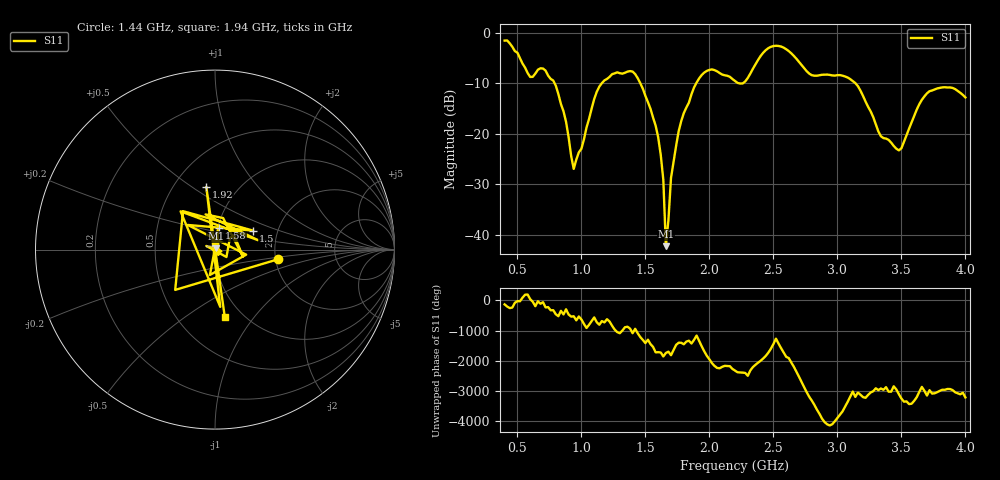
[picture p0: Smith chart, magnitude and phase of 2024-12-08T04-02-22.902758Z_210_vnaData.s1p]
!Created with skrf (http://scikit-rf.org).
# Hz S RI R 50.0
!freq ReS11 ImS11
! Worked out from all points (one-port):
!   181 points, 400 MHz to 4 GHz, reference 50 ohm
!   lowest |S11| = -42.2 dB at 1.66 GHz (marker M1), VSWR 1.02, Z = 50.4 + j0.669 ohm
!   |S11| at or under -10 dB: 790.1 MHz to 1.16 GHz (369.7 MHz wide, 37.9 % of centre); 1.46 GHz to 1.898 GHz (438 MHz wide, 26.1 % of centre); 3.14 GHz to end of sweep (the widest 3 of 4)
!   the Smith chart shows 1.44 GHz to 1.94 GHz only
!   S11 on the Smith chart (normalised r, x): 1.44 GHz: 2.06, -0.26; 1.5 GHz: 1.49, +0.33; 1.58 GHz: 1.01, +0.24; 1.92 GHz: 0.72, +0.57; 1.94 GHz: 0.83, -0.73
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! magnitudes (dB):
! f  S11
! 400 MHz  -1.6
! 600 MHz  -8.8
! 720 MHz  -7.5
! 800 MHz  -10.5
! 860 MHz  -15.6
! 940 MHz  -27.0
! 1.12 GHz  -11.7
! 1.3 GHz  -8.0
! 1.44 GHz  -9.0
! 1.5 GHz  -12.5
! 1.58 GHz  -18.4
! 1.64 GHz  -29.1
! 1.66 GHz  -42.2
! 1.7 GHz  -28.8
! 1.76 GHz  -19.5
! 1.92 GHz  -9.1
! 1.94 GHz  -8.4
! 2.2 GHz  -9.6
! 2.28 GHz  -9.7
! 2.48 GHz  -2.8
! 2.66 GHz  -4.6
! 2.8 GHz  -8.4
! 3.1 GHz  -9.2
! 3.34 GHz  -20.5
! 3.48 GHz  -23.3
! 3.56 GHz  -19.0
! 3.72 GHz  -11.6
! 4 GHz  -12.8
